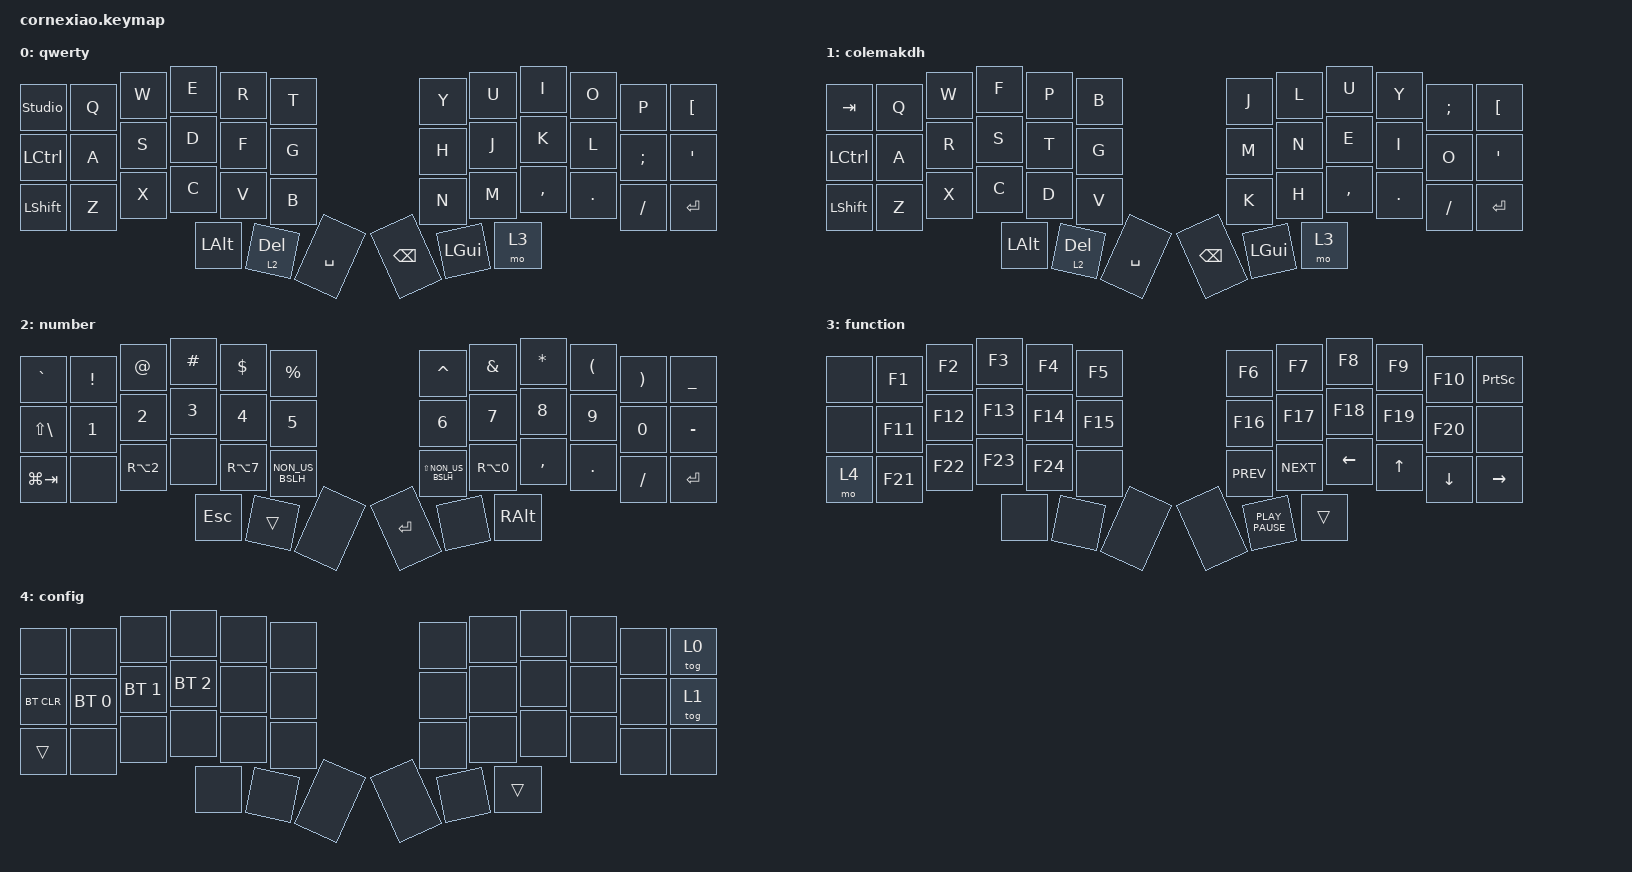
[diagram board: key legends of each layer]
/*
 * Copyright (c) 2020 The ZMK Contributors
 *
 * SPDX-License-Identifier: MIT
 */

#include <behaviors.dtsi>
#include <dt-bindings/zmk/bt.h>
#include <dt-bindings/zmk/keys.h>

/ {
    behaviors {
        ESC_LALT: ESC_LALT {
            compatible = "zmk,behavior-tap-dance";
            label = "ESC_LALT";
            #binding-cells = <0>;
            bindings = <&kp ESC>, <&kp LALT>;
        };
    };

    macros {
        ALFA: ALFA {
            compatible = "zmk,behavior-macro";
            #binding-cells = <0>;
            bindings = <&kp RA(N2)>;
            label = "ALFA";
        };
    };

    keymap {
        compatible = "zmk,keymap";

        qwerty {
            bindings = <
&studio_unlock  &kp Q  &kp W  &kp E         &kp R      &kp T      &kp Y     &kp U     &kp I      &kp O    &kp P     &kp LBKT
&kp LCTRL       &kp A  &kp S  &kp D         &kp F      &kp G      &kp H     &kp J     &kp K      &kp L    &kp SEMI  &kp SQT
&kp LSHFT       &kp Z  &kp X  &kp C         &kp V      &kp B      &kp N     &kp M     &kp COMMA  &kp DOT  &kp FSLH  &kp RET
                        &kp LEFT_ALT  &lt 2 DEL  &kp SPACE  &kp BSPC  &kp LGUI  &mo 3
            >;
        };

        colemakdh {
            bindings = <
&kp TAB    &kp Q  &kp W  &kp F         &kp P      &kp B      &kp J     &kp L     &kp U      &kp Y    &kp SEMI  &kp LBKT
&kp LCTRL  &kp A  &kp R  &kp S         &kp T      &kp G      &kp M     &kp N     &kp E      &kp I    &kp O     &kp SQT
&kp LSHFT  &kp Z  &kp X  &kp C         &kp D      &kp V      &kp K     &kp H     &kp COMMA  &kp DOT  &kp FSLH  &kp RET
                         &kp LEFT_ALT  &lt 2 DEL  &kp SPACE  &kp BSPC  &kp LGUI  &mo 3
            >;
        };

        number {
            bindings = <
&kp GRAVE          &kp EXCL  &kp AT            &kp HASH    &kp DLLR          &kp PRCNT        &kp CARET            &kp AMPS    &kp STAR   &kp LPAR  &kp RPAR   &kp UNDERSCORE
&kp LS(BACKSLASH)  &kp N1    &kp N2            &kp N3      &kp N4            &kp N5           &kp N6               &kp N7      &kp N8     &kp N9    &kp N0     &kp MINUS
&kp LG(TAB)        &none     &kp RA(NUMBER_2)  &none       &kp RA(NUMBER_7)  &kp NON_US_BSLH  &kp LS(NON_US_BSLH)  &kp RA(N0)  &kp COMMA  &kp DOT   &kp SLASH  &kp ENTER
                                               &kp ESCAPE  &trans            &none            &kp RET              &none       &kp RALT
            >;
        };

        function {
            bindings = <
&none  &kp F1   &kp F2   &kp F3   &kp F4   &kp F5   &kp F6      &kp F7            &kp F8    &kp F9   &kp F10   &kp PRINTSCREEN
&none  &kp F11  &kp F12  &kp F13  &kp F14  &kp F15  &kp F16     &kp F17           &kp F18   &kp F19  &kp F20   &none
&mo 4  &kp F21  &kp F22  &kp F23  &kp F24  &none    &kp K_PREV  &kp K_NEXT        &kp LEFT  &kp UP   &kp DOWN  &kp RIGHT
                         &none    &none    &none    &none       &kp K_PLAY_PAUSE  &trans
            >;
        };

        config {
            bindings = <
&none       &none         &none         &none         &none  &none  &none  &none  &none   &none  &none  &tog 0
&bt BT_CLR  &bt BT_SEL 0  &bt BT_SEL 1  &bt BT_SEL 2  &none  &none  &none  &none  &none   &none  &none  &tog 1
&trans      &none         &none         &none         &none  &none  &none  &none  &none   &none  &none  &none
                                        &none         &none  &none  &none  &none  &trans
            >;
        };
    };
};
